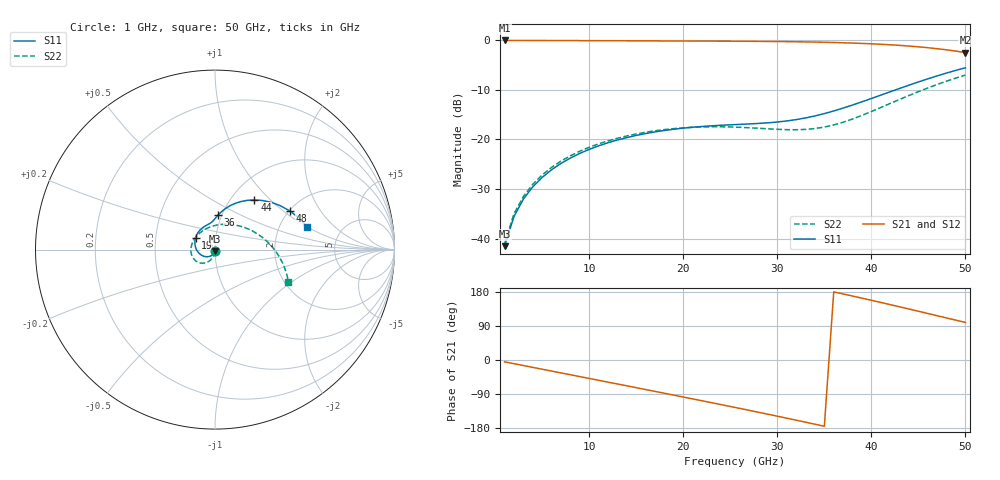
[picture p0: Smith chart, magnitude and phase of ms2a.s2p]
! Impedora 0.10.0 via model, case ms2a (fullwave/cases.json), 2026-11-19
! As ms2 with the antipad as large as the pad: no plane opening beyond the pad: with its pads and traces, ports at the far end of each trace, after the 3D port calibration.
! Ports: 1 = upper end, 2 = lower end, 50 ohm.
! Compared with the edge 3D mesh.
# Hz S RI R 50
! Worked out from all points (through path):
!   50 points, 1 GHz to 50 GHz, reference 50 ohm
!   highest |S21| = 0.00 dB at 1 GHz (marker M1); lowest = -2.4 dB at 50 GHz (marker M2)
!   group delay of S21, straight-line fit = 14.4 ps
!   lowest |S11| = -41.5 dB at 1 GHz (marker M3), VSWR 1.02, Z = 49.9 - j0.83 ohm
!   |S11| at or under -10 dB: start of sweep to 42.55 GHz
!   |S22| runs from -41.0 to -7.0 dB; largest |S21 - S12| = 1.3
!   S11 on the Smith chart (normalised r, x): 1 GHz: 1.00, -0.02; 19 GHz: 0.80, +0.11; 36 GHz: 0.96, +0.39; 44 GHz: 1.28, +0.81; 48 GHz: 2.01, +1.11; 50 GHz: 2.85, +1.01
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1e9  -0.000948 -0.00831  0.9963 -0.0849  0.9989 -0.0463  -0.000478 -0.00889
2e9  -0.00377 -0.0163  0.9853 -0.1692  0.9955 -0.0925  -0.00191 -0.0177
3e9  -0.0084 -0.0236  0.9671 -0.2521  0.9898 -0.1383  -0.00429 -0.0263
4e9  -0.0147 -0.0299  0.9419 -0.3332  0.982 -0.1839  -0.00762 -0.0345
5e9  -0.0225 -0.0349  0.9098 -0.4117  0.9719 -0.2289  -0.0118 -0.0423
7e9  -0.0413 -0.0398  0.8262 -0.5589  0.9456 -0.3172  -0.0228 -0.0561
1e10  -0.0725 -0.0327  0.6573 -0.7477  0.8909 -0.4438  -0.0444 -0.0707
1.4e10  -0.1046 0.0026  0.3687 -0.9214  0.7913 -0.5984  -0.0783 -0.0752
1.8e10  -0.111 0.0538  0.038 -0.9884  0.6643 -0.7327  -0.1105 -0.0601
1.9e10  -0.1081 0.0667  -0.0469 -0.9872  0.6285 -0.7626  -0.1172 -0.0532
2.2e10  -0.0903 0.1008  -0.2979 -0.9397  0.5123 -0.8423  -0.1314 -0.0255
2.6e10  -0.056 0.1306  -0.6003 -0.7768  0.3376 -0.9224  -0.1305 0.0245
3e10  -0.0251 0.148  -0.8294 -0.5129  0.1432 -0.9656  -0.0979 0.0803
3.2e10  -0.0126 0.1582  -0.9042 -0.3514  0.0406 -0.9703  -0.0676 0.1056
3.4e10  0.000492 0.1729  -0.9466 -0.1768  -0.0638 -0.9621  -0.0278 0.1259
3.6e10  0.0179 0.1932  -0.9535 0.0041  -0.1682 -0.94  0.0209 0.1386
3.9e10  0.0628 0.2318  -0.8935 0.2702  -0.3197 -0.8791  0.1079 0.1379
4.2e10  0.1429 0.2673  -0.7511 0.5037  -0.457 -0.7838  0.2055 0.1056
4.4e10  0.2199 0.2768  -0.616 0.6257  -0.535 -0.7015  0.271 0.0625
4.6e10  0.3136 0.2632  -0.4575 0.7103  -0.5973 -0.6059  0.3312 0.000259
4.8e10  0.4164 0.2158  -0.2872 0.7508  -0.6393 -0.5003  0.3797 -0.081
5e10  0.514 0.1272  -0.1199 0.745  -0.6575 -0.3903  0.4094 -0.1784
